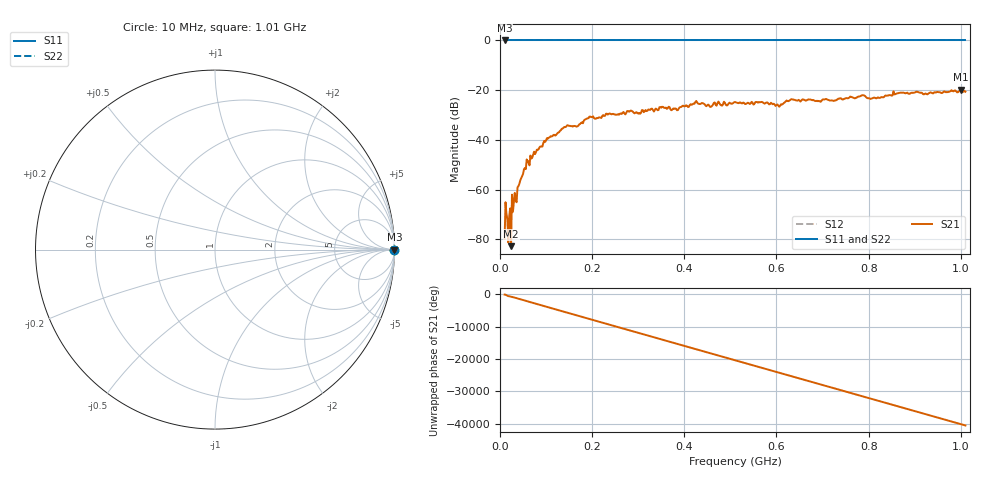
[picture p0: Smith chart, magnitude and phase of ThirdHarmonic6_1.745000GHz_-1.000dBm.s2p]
! 8/16/2025 9:02:43 PM
! C:\ANRITSUVNA\TEMP\TEMP.S2P
! CHANNEL.1
! TR.MEASUREMENT
! RAW.DATA
! RF.CORRECTION.OFF
! AVERAGING.OFF
! IF.BANDWIDTH: 5KHZ
! SWEEPTYPE:  FREQ.SWEEP(Linear)
! Reference Plane Port Info
! PORT:  PORT1  PORT2
! DISTANCE:  0  m  0  m
! TIME:  0  s  0  s
! PHASE.OFFSET:  0  deg.  0  deg.
! LOSS:  0  dB  0  dB
! REF.LOSS:  0  dB  0  dB
! REF.FREQ:  0  Hz  0  Hz
! Power Info
! POWER:  -20  dBm  -20  dBm
! EFF.POWER:  -20  dBm  -20  dBm
! SOURCE.ATTEN:  0  dB  0  dB
! TEST.ATTEN:  0  dB  0  dB
# GHZ S RI R 50.0
! FREQ.GHZ  S11RE  S11IM  S21RE  S21IM  S12RE  S12IM  S22RE  S22IM
!; PortSelection: Port_12
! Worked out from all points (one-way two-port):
!   501 points, 10 MHz to 1.01 GHz, reference 50 ohm
!   highest |S21| = -19.81 dB at 1 GHz (marker M1); lowest = -82.8 dB at 24 MHz (marker M2)
!   lowest |S11| = 0.0 dB at 10 MHz (marker M3)
!   |S11| at or under -10 dB: nowhere
!   |S22| runs from 0.0 to 0.0 dB; largest |S21 - S12| = 1.1
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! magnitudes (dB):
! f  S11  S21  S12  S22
! 10 MHz  0.0  -79.9  0.0  0.0
! 16 MHz  0.0  -71.9  0.0  0.0
! 20 MHz  0.0  -71.0  0.0  0.0
! 24 MHz  0.0  -82.8  0.0  0.0
! 28 MHz  0.0  -69.0  0.0  0.0
! 30 MHz  0.0  -65.1  0.0  0.0
! 32 MHz  0.0  -61.4  0.0  0.0
! 42 MHz  0.0  -57.7  0.0  0.0
! 56 MHz  0.0  -51.8  0.0  0.0
! 70 MHz  0.0  -47.2  0.0  0.0
! 106 MHz  0.0  -39.1  0.0  0.0
! 144 MHz  0.0  -34.6  0.0  0.0
! 178 MHz  0.0  -32.9  0.0  0.0
! 198 MHz  0.0  -30.8  0.0  0.0
! 344 MHz  0.0  -28.0  0.0  0.0
! 510 MHz  0.0  -24.8  0.0  0.0
! 602 MHz  0.0  -25.7  0.0  0.0
! 634 MHz  0.0  -23.7  0.0  0.0
! 678 MHz  0.0  -24.1  0.0  0.0
! 844 MHz  0.0  -22.0  0.0  0.0
! 1 GHz  0.0  -19.8  0.0  0.0
! 1.01 GHz  0.0  -20.6  0.0  0.0
